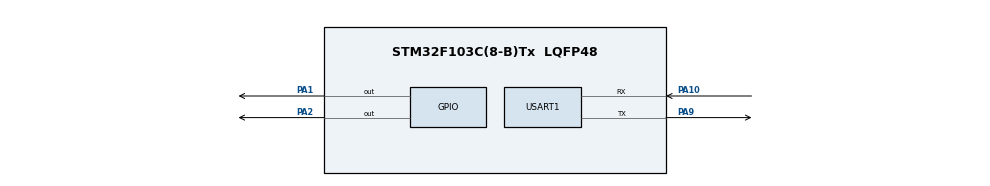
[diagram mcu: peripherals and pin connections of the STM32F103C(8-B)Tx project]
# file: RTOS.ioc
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Mcu.Family=STM32F1
Mcu.Name=STM32F103C(8-B)Tx
Mcu.Package=LQFP48
NVIC.PriorityGroup=NVIC_PRIORITYGROUP_4
PA1.Signal=GPIO_Output
PA10.Mode=Asynchronous
PA10.Signal=USART1_RX
PA2.Signal=GPIO_Output
PA9.Mode=Asynchronous
PA9.Signal=USART1_TX
ProjectManager.HeapSize=0x200
ProjectManager.StackSize=0x400
ProjectManager.TargetToolchain=Makefile
RCC.APB1Freq_Value=8000000
RCC.APB2Freq_Value=8000000
USART1.VirtualMode=VM_ASYNC
VP_SYS_VS_ND.Mode=No_Debug
board=RTOS

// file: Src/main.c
/**
  ******************************************************************************
  * @file           : main.c
  * @brief          : Main program body
  ******************************************************************************
  ** This notice applies to any and all portions of this file
  * that are not between comment pairs USER CODE BEGIN and
  * USER CODE END. Other portions of this file, whether
  * inserted by the user or by software development tools
  * are owned by their respective copyright owners.
  *
  * COPYRIGHT(c) 2018 STMicroelectronics
  *
  * Redistribution and use in source and binary forms, with or without modification,
  * are permitted provided that the following conditions are met:
  *   1. Redistributions of source code must retain the above copyright notice,
  *      this list of conditions and the following disclaimer.
  *   2. Redistributions in binary form must reproduce the above copyright notice,
  *      this list of conditions and the following disclaimer in the documentation
  *      and/or other materials provided with the distribution.
  *   3. Neither the name of STMicroelectronics nor the names of its contributors
  *      may be used to endorse or promote products derived from this software
  *      without specific prior written permission.
  *
  * THIS SOFTWARE IS PROVIDED BY THE COPYRIGHT HOLDERS AND CONTRIBUTORS "AS IS"
  * AND ANY EXPRESS OR IMPLIED WARRANTIES, INCLUDING, BUT NOT LIMITED TO, THE
  * IMPLIED WARRANTIES OF MERCHANTABILITY AND FITNESS FOR A PARTICULAR PURPOSE ARE
  * DISCLAIMED. IN NO EVENT SHALL THE COPYRIGHT HOLDER OR CONTRIBUTORS BE LIABLE
  * FOR ANY DIRECT, INDIRECT, INCIDENTAL, SPECIAL, EXEMPLARY, OR CONSEQUENTIAL
  * DAMAGES (INCLUDING, BUT NOT LIMITED TO, PROCUREMENT OF SUBSTITUTE GOODS OR
  * SERVICES; LOSS OF USE, DATA, OR PROFITS; OR BUSINESS INTERRUPTION) HOWEVER
  * CAUSED AND ON ANY THEORY OF LIABILITY, WHETHER IN CONTRACT, STRICT LIABILITY,
  * OR TORT (INCLUDING NEGLIGENCE OR OTHERWISE) ARISING IN ANY WAY OUT OF THE USE
  * OF THIS SOFTWARE, EVEN IF ADVISED OF THE POSSIBILITY OF SUCH DAMAGE.
  *
  ******************************************************************************
  */
#include "main.h"
#include "stm32f1xx_hal.h"

#define svc(code) asm volatile ("svc %[immediate]"::[immediate] "I" (code))
/* USER CODE BEGIN Includes */
#include "global.h"
#include "os.h"
/* USER CODE END Includes */

UART_HandleTypeDef huart1;

/* USER CODE BEGIN PV */
/* Private variables ---------------------------------------------------------*/
uint32_t taskA_STK[256];
uint32_t taskB_STK[256];
/* USER CODE END PV */

void SystemClock_Config(void);
static void MX_GPIO_Init(void);
static void MX_USART1_UART_Init(void);

/* USER CODE BEGIN PFP */
/* Private function prototypes -----------------------------------------------*/
#ifdef __GNUC__
  /* With GCC/RAISONANCE, small printf (option LD Linker->Libraries->Small printf
     set to 'Yes') calls __io_putchar() */
  #define PUTCHAR_PROTOTYPE int __io_putchar(int ch)
#else
  #define PUTCHAR_PROTOTYPE int fputc(int ch, FILE *f)
#endif /* __GNUC__ */
/* USER CODE END PFP */

/* USER CODE BEGIN 0 */
void taskA(void* args)
{
//  HAL_UART_Transmit(&huart1, "TSKAR\n", 6, 0xFF);
  while (1)
  {
//    HAL_GPIO_WritePin(GPIOA, GPIO_PIN_1, GPIO_PIN_RESET);
    HAL_GPIO_TogglePin(GPIOA, GPIO_PIN_1);
    osTaskDelay(1000);
    //HAL_UART_Transmit(&huart1, "Yes!\n", 5, 0xFF);
  }
}

void taskB(void* args)
{
  while (1)
  {
    HAL_GPIO_TogglePin(GPIOA, GPIO_PIN_2);
    osTaskDelay(2000);
  }
}
/* USER CODE END 0 */

int main(void)
{

  /* MCU Configuration----------------------------------------------------------*/

  /* Reset of all peripherals, Initializes the Flash interface and the Systick. */
  HAL_Init();

  /* Configure the system clock */
  SystemClock_Config();

  /* Initialize all configured peripherals */
  MX_GPIO_Init();
  MX_USART1_UART_Init();
  /* USER CODE BEGIN 2 */
  HAL_GPIO_WritePin(GPIOA, GPIO_PIN_1, GPIO_PIN_SET);
  HAL_GPIO_WritePin(GPIOA, GPIO_PIN_2, GPIO_PIN_RESET);
  HAL_Delay(3000);
//  HAL_Delay(5000);
  HAL_GPIO_WritePin(GPIOA, GPIO_PIN_2, GPIO_PIN_SET);

  osInit();
  osTaskCreate(taskA, (void*)0, 5, (uint32_t*)&taskA_STK[255]);
  osTaskCreate(taskB, (void*)0, 7, (uint32_t*)&taskB_STK[255]);
  NVIC_SetPriority(PendSV_IRQn, 0xFF);
  //HAL_UART_Transmit(&huart1, "TASKC\n", 6, 0xFF);

  osStart();
  /* USER CODE END 2 */

  /* Infinite loop */
  while (1)
  {

  }

}

void SystemClock_Config(void)
{

  RCC_OscInitTypeDef RCC_OscInitStruct;
  RCC_ClkInitTypeDef RCC_ClkInitStruct;

    /**Initializes the CPU, AHB and APB busses clocks
    */
  RCC_OscInitStruct.OscillatorType = RCC_OSCILLATORTYPE_HSI;
  RCC_OscInitStruct.HSIState = RCC_HSI_ON;
  RCC_OscInitStruct.HSICalibrationValue = 16;
  RCC_OscInitStruct.PLL.PLLState = RCC_PLL_NONE;
  if (HAL_RCC_OscConfig(&RCC_OscInitStruct) != HAL_OK)
  {
    _Error_Handler(__FILE__, __LINE__);
  }

    /**Initializes the CPU, AHB and APB busses clocks
    */
  RCC_ClkInitStruct.ClockType = RCC_CLOCKTYPE_HCLK|RCC_CLOCKTYPE_SYSCLK
                              |RCC_CLOCKTYPE_PCLK1|RCC_CLOCKTYPE_PCLK2;
  RCC_ClkInitStruct.SYSCLKSource = RCC_SYSCLKSOURCE_HSI;
  RCC_ClkInitStruct.AHBCLKDivider = RCC_SYSCLK_DIV1;
  RCC_ClkInitStruct.APB1CLKDivider = RCC_HCLK_DIV1;
  RCC_ClkInitStruct.APB2CLKDivider = RCC_HCLK_DIV1;

  if (HAL_RCC_ClockConfig(&RCC_ClkInitStruct, FLASH_LATENCY_0) != HAL_OK)
  {
    _Error_Handler(__FILE__, __LINE__);
  }

    /**Configure the Systick interrupt time
    */
  HAL_SYSTICK_Config(HAL_RCC_GetHCLKFreq()/1000);
//  HAL_SYSTICK_Config(HAL_RCC_GetHCLKFreq()/100);

    /**Configure the Systick
    */
  HAL_SYSTICK_CLKSourceConfig(SYSTICK_CLKSOURCE_HCLK);

  /* SysTick_IRQn interrupt configuration */
  HAL_NVIC_SetPriority(SysTick_IRQn, 0, 0);
}

/* USART1 init function */
static void MX_USART1_UART_Init(void)
{

  huart1.Instance = USART1;
  huart1.Init.BaudRate = 115200;
  huart1.Init.WordLength = UART_WORDLENGTH_8B;
  huart1.Init.StopBits = UART_STOPBITS_1;
  huart1.Init.Parity = UART_PARITY_NONE;
  huart1.Init.Mode = UART_MODE_TX_RX;
  huart1.Init.HwFlowCtl = UART_HWCONTROL_NONE;
  huart1.Init.OverSampling = UART_OVERSAMPLING_16;
  if (HAL_UART_Init(&huart1) != HAL_OK)
  {
    _Error_Handler(__FILE__, __LINE__);
  }

}

/** Configure pins as
        * Analog
        * Input
        * Output
        * EVENT_OUT
        * EXTI
*/
static void MX_GPIO_Init(void)
{

  GPIO_InitTypeDef GPIO_InitStruct;

  /* GPIO Ports Clock Enable */
  __HAL_RCC_GPIOA_CLK_ENABLE();

  /*Configure GPIO pin Output Level */
  HAL_GPIO_WritePin(GPIOA, GPIO_PIN_1|GPIO_PIN_2, GPIO_PIN_RESET);

  /*Configure GPIO pins : PA1 PA2 */
  GPIO_InitStruct.Pin = GPIO_PIN_1|GPIO_PIN_2;
  GPIO_InitStruct.Mode = GPIO_MODE_OUTPUT_PP;
  GPIO_InitStruct.Speed = GPIO_SPEED_FREQ_LOW;
  HAL_GPIO_Init(GPIOA, &GPIO_InitStruct);

}

/* USER CODE BEGIN 4 */
/**
  * @brief  Retargets the C library printf function to the USART.
  * @param  None
  * @retval None
  */
PUTCHAR_PROTOTYPE
{
  /* Place your implementation of fputc here 执行*/
  /* e.g. write a character to the EVAL_COM1 and Loop until the end of transmission */
  HAL_UART_Transmit(&huart1, (uint8_t *)&ch, 1, 0xFFFF);

  return ch;
}
/* USER CODE END 4 */

void _Error_Handler(char *file, int line)
{
  while(1)
  {
  }
}

/************************ (C) COPYRIGHT STMicroelectronics *****END OF FILE****/
